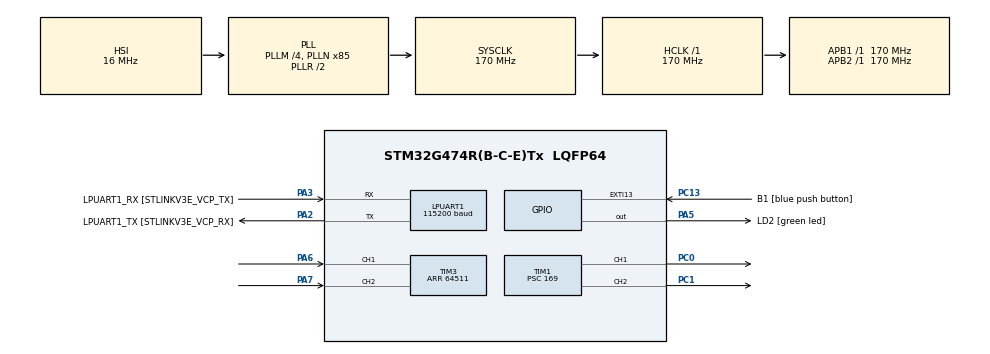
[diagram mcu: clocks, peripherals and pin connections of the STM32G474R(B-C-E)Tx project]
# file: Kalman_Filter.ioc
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ARM.CMSIS-DSP.1.15.0.CMSISJjDSP=Source
ARM.CMSIS.6.0.0.CMSISJjCORE=true
LPUART1.BaudRate=115200
LPUART1.WordLength=UART_WORDLENGTH_8B
Mcu.Family=STM32G4
Mcu.Name=STM32G474R(B-C-E)Tx
Mcu.Package=LQFP64
NVIC.EXTI15_10_IRQn=true\:0\:0\:false\:false\:true\:true\:true\:true
NVIC.PriorityGroup=NVIC_PRIORITYGROUP_4
NVIC.TIM5_IRQn=true\:0\:0\:false\:false\:true\:true\:true\:true
PA13.GPIO_Label=T_SWDIO
PA13.Mode=Serial_Wire
PA13.Signal=SYS_JTMS-SWDIO
PA14.GPIO_Label=T_SWCLK
PA14.Mode=Serial_Wire
PA14.Signal=SYS_JTCK-SWCLK
PA2.GPIO_Label=LPUART1_TX [STLINKV3E_VCP_RX]
PA2.Mode=Asynchronous
PA2.Signal=LPUART1_TX
PA3.GPIO_Label=LPUART1_RX [STLINKV3E_VCP_TX]
PA3.Mode=Asynchronous
PA3.Signal=LPUART1_RX
PA5.GPIO_Label=LD2 [green led]
PA5.Signal=GPIO_Output
PA6.Signal=S_TIM3_CH1
PA7.Signal=S_TIM3_CH2
PB3.GPIO_Label=T_SWO
PB3.Signal=SYS_JTDO-SWO
PC0.Signal=S_TIM1_CH1
PC1.Signal=S_TIM1_CH2
PC13.GPIO_Label=B1 [blue push button]
PC13.Signal=GPXTI13
PC14-OSC32_IN.Mode=LSE-External-Oscillator
PC14-OSC32_IN.Signal=RCC_OSC32_IN
PC15-OSC32_OUT.Mode=LSE-External-Oscillator
PC15-OSC32_OUT.Signal=RCC_OSC32_OUT
PF0-OSC_IN.Mode=HSE-External-Oscillator
PF0-OSC_IN.Signal=RCC_OSC_IN
PF1-OSC_OUT.Mode=HSE-External-Oscillator
PF1-OSC_OUT.Signal=RCC_OSC_OUT
ProjectManager.HeapSize=0x200
ProjectManager.StackSize=0x400
ProjectManager.TargetToolchain=STM32CubeIDE
RCC.ADC12Freq_Value=170000000
RCC.ADC345Freq_Value=170000000
RCC.AHBFreq_Value=170000000
RCC.APB1Freq_Value=170000000
RCC.APB1TimFreq_Value=170000000
RCC.APB2Freq_Value=170000000
RCC.APB2TimFreq_Value=170000000
RCC.CortexFreq_Value=170000000
RCC.EXTERNAL_CLOCK_VALUE=12288000
RCC.HCLKFreq_Value=170000000
RCC.HSE_VALUE=24000000
RCC.HSI48_VALUE=48000000
RCC.HSI_VALUE=16000000
RCC.PLLM=RCC_PLLM_DIV4
RCC.PLLN=85
RCC.RTCClockSelection=RCC_RTCCLKSOURCE_LSE
RCC.SYSCLKFreq_VALUE=170000000
RCC.SYSCLKSource=RCC_SYSCLKSOURCE_PLLCLK
RCC.USBFreq_Value=170000000
RCC.VCOOutputFreq_Value=340000000
SH.S_TIM1_CH1.0=TIM1_CH1,PWM Generation1 CH1
SH.S_TIM1_CH2.0=TIM1_CH2,PWM Generation2 CH2
SH.S_TIM3_CH1.0=TIM3_CH1,Encoder_Interface
SH.S_TIM3_CH2.0=TIM3_CH2,Encoder_Interface
TIM1.Channel-PWM\ Generation1\ CH1=TIM_CHANNEL_1
TIM1.Channel-PWM\ Generation2\ CH2=TIM_CHANNEL_2
TIM1.PeriodNoDither=1000
TIM1.Prescaler=169
TIM3.EncoderMode=TIM_ENCODERMODE_TI12
TIM3.PeriodNoDither=64511
TIM5.Prescaler=169
VP_ARM.CMSIS-DSP_VS_CMSISJjDSP_1.15.0_1.15.0.Mode=CMSISJjDSP
VP_ARM.CMSIS_VS_CMSISJjCORE_6.0.0_6.0.0.Mode=CMSISJjCORE
VP_SYS_VS_DBSignals.Mode=DisableDeadBatterySignals
VP_TIM1_VS_ClockSourceINT.Mode=Internal
VP_TIM5_VS_ClockSourceINT.Mode=Internal
board=NUCLEO-G474RE

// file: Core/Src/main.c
/* USER CODE BEGIN Header */
/**
  ******************************************************************************
  * @file           : main.c
  * @brief          : Main program body
  ******************************************************************************
  * @attention
  *
  * Copyright (c) 2024 STMicroelectronics.
  * All rights reserved.
  *
  * This software is licensed under terms that can be found in the LICENSE file
  * in the root directory of this software component.
  * If no LICENSE file comes with this software, it is provided AS-IS.
  *
  ******************************************************************************
  */
/* USER CODE END Header */
#include "main.h"

/* USER CODE BEGIN Includes */
#include "arm_math.h"

/* USER CODE END Includes */

UART_HandleTypeDef hlpuart1;

TIM_HandleTypeDef htim1;
TIM_HandleTypeDef htim3;
TIM_HandleTypeDef htim5;

/* USER CODE BEGIN PV */
float diffTime;
int32_t diffPosition;
int start = 0;
uint32_t QEIReadRaw;
int PWM;
float Voltage;
float Velo_Kalman;

typedef struct
{
// for record New / Old value to calculate dx / dt
	int Position[2];
	int TimeStamp[2];
	int QEIPostion_1turn;
	float QEIAngularVelocity;
	float QEIAngularVeloKalman;
}QEI_StructureTypeDef;
QEI_StructureTypeDef QEIdata = {0};
uint64_t _micros = 0;
enum
{
NEW,OLD
};

// กำหนดตัวแปร Kalman
float32_t X_k[3] = {0.0f, 0.0f, 0.0f};
arm_matrix_instance_f32 X_k_matrix;

float32_t P_k[9] = {0.0f, 0.0f, 0.0f,
                 	0.0f, 0.0f, 0.0f,
					0.0f, 0.0f, 0.0f };
arm_matrix_instance_f32 P_k_matrix;

float32_t A[9] = {1.0f, 0.01f, 0.5*0.01*0.01f,
				  0.0f, 1.0f, 0.01f,
				  0.0f, 0.0f, 1.0f };
arm_matrix_instance_f32 A_matrix;

float32_t A_transpose[9] = {1.0f, 0.0f, 0.0f,
		  	  	  	  	  	0.01f, 1.0f, 0.0f,
							0.5*0.01*0.01f, 0.01f, 1.0f };
arm_matrix_instance_f32 A_transpose_matrix;

float32_t I[9] = {1.0f, 0.0f, 0.0f,
		  	  	 0.0f, 1.0f, 0.0f,
				 0.0f, 0.0f, 1.0f };
arm_matrix_instance_f32 I_matrix;

float32_t B[3] = {0.0f,
			      0.0f,
				  1.0f };
arm_matrix_instance_f32 B_matrix;

float32_t C[3] = {1.0f, 0.0f, 0.0f };
arm_matrix_instance_f32 C_matrix;

float32_t C_transpose[3] = {1.0f,
	  	  	  	  	  	    0.0f,
	  	  	  	  	  	    0.0f};
arm_matrix_instance_f32 C_transpose_matrix;

float32_t G[3] = {0.5*0.01*0.01f,
				  0.01f,
				  1.0f };
arm_matrix_instance_f32 G_matrix;

float32_t G_transpose[3] = {0.5*0.01*0.01f, 0.01f, 1.0f };
arm_matrix_instance_f32 G_transpose_matrix;

float32_t Es_velocity[1] = {0.0f};
arm_matrix_instance_f32 Output_matrix;

arm_matrix_instance_f32 GGT_matrix;
float32_t GGT[9];

arm_matrix_instance_f32 GQGT_matrix;
float32_t GQGT[9];
//------------------------------------------- for equa ------------------------------------
// Compute Xk = Ax + Bu
arm_matrix_instance_f32 Bu_matrix;
float32_t Bu_data[3];
arm_matrix_instance_f32 Ax_matrix;
float32_t Ax_data[3];

// Compute (C * P_k * C^T + R)
arm_matrix_instance_f32 CP_matrix;
float32_t CP[3];
arm_matrix_instance_f32 CPCT_matrix;
float32_t CPCT[1];
arm_matrix_instance_f32 CPCTR_matrix;
float32_t CPCTR[1];

// Compute Kalman Gain: K = P_k * C^T * inv(C * P_k * C^T + R)
arm_matrix_instance_f32 K_matrix;
float32_t K[3];
arm_matrix_instance_f32 PCT_matrix;
float32_t PCT[3];

// Compute inverse of (C * P_k * C^T + R)
arm_matrix_instance_f32 CPCTRinv_matrix;
float32_t CPCTRinv[1];

// Computation of the estimated state
arm_matrix_instance_f32 Cx_matrix;
float32_t Cx[1];
arm_matrix_instance_f32 yCx_matrix;
float32_t yCx[1];
arm_matrix_instance_f32 KyCx_matrix;
float32_t KyCx[3];

float32_t Q = 1.0f;
arm_matrix_instance_f32 R_matrix;
float32_t R[1] = {1.0f};

//arm_matrix_instance_f32 Z_matrix;
//float32_t Z[1];

arm_matrix_instance_f32 Velocity_matrix;

float Kalman_Speed;
/* USER CODE END PV */

void SystemClock_Config(void);
static void MX_GPIO_Init(void);
static void MX_LPUART1_UART_Init(void);
static void MX_TIM3_Init(void);
static void MX_TIM5_Init(void);
static void MX_TIM1_Init(void);
/* USER CODE BEGIN PFP */
uint64_t micros();
void QEIEncoderPosVel_Update();
void Kalman_Start();
float SteadyStateKalmanFilter(float32_t Vin,float32_t Velocity);
/* USER CODE END PFP */

int main(void)
{

  /* MCU Configuration--------------------------------------------------------*/

  /* Reset of all peripherals, Initializes the Flash interface and the Systick. */
  HAL_Init();

  /* Configure the system clock */
  SystemClock_Config();

  /* Initialize all configured peripherals */
  MX_GPIO_Init();
  MX_LPUART1_UART_Init();
  MX_TIM3_Init();
  MX_TIM5_Init();
  MX_TIM1_Init();
  /* USER CODE BEGIN 2 */
  HAL_TIM_Encoder_Start(&htim3,TIM_CHANNEL_ALL);
  HAL_TIM_Base_Start_IT(&htim5);
  HAL_TIM_PWM_Start(&htim1, TIM_CHANNEL_1);
  HAL_TIM_PWM_Start(&htim1, TIM_CHANNEL_2);
  Kalman_Start();
  /* USER CODE END 2 */

  /* Infinite loop */
  while (1)
  {

    /* USER CODE BEGIN 3 */
	  Voltage = 5.0*PWM/1000.0;

	  if (start == 1)
	  {
		  __HAL_TIM_SET_COMPARE(&htim1, TIM_CHANNEL_1, PWM);
		  __HAL_TIM_SET_COMPARE(&htim1, TIM_CHANNEL_2, 0);
	  }
	  else if (start == 0)
	  {
		  __HAL_TIM_SET_COMPARE(&htim1, TIM_CHANNEL_1, 0);
		  __HAL_TIM_SET_COMPARE(&htim1, TIM_CHANNEL_2, 0);
	  }

	  QEIReadRaw = __HAL_TIM_GET_COUNTER(&htim3);
	  //Call every 0.1 s
	  static uint64_t timestamp =0;
	  int64_t currentTime = micros();
	  if(currentTime > timestamp)
	  {
		  timestamp =currentTime + 100000;//us
		  QEIEncoderPosVel_Update();
	  }

  }
  /* USER CODE END 3 */
}

void SystemClock_Config(void)
{
  RCC_OscInitTypeDef RCC_OscInitStruct = {0};
  RCC_ClkInitTypeDef RCC_ClkInitStruct = {0};

  /** Configure the main internal regulator output voltage
  */
  HAL_PWREx_ControlVoltageScaling(PWR_REGULATOR_VOLTAGE_SCALE1_BOOST);

  /** Initializes the RCC Oscillators according to the specified parameters
  * in the RCC_OscInitTypeDef structure.
  */
  RCC_OscInitStruct.OscillatorType = RCC_OSCILLATORTYPE_HSI;
  RCC_OscInitStruct.HSIState = RCC_HSI_ON;
  RCC_OscInitStruct.HSICalibrationValue = RCC_HSICALIBRATION_DEFAULT;
  RCC_OscInitStruct.PLL.PLLState = RCC_PLL_ON;
  RCC_OscInitStruct.PLL.PLLSource = RCC_PLLSOURCE_HSI;
  RCC_OscInitStruct.PLL.PLLM = RCC_PLLM_DIV4;
  RCC_OscInitStruct.PLL.PLLN = 85;
  RCC_OscInitStruct.PLL.PLLP = RCC_PLLP_DIV2;
  RCC_OscInitStruct.PLL.PLLQ = RCC_PLLQ_DIV2;
  RCC_OscInitStruct.PLL.PLLR = RCC_PLLR_DIV2;
  if (HAL_RCC_OscConfig(&RCC_OscInitStruct) != HAL_OK)
  {
    Error_Handler();
  }

  /** Initializes the CPU, AHB and APB buses clocks
  */
  RCC_ClkInitStruct.ClockType = RCC_CLOCKTYPE_HCLK|RCC_CLOCKTYPE_SYSCLK
                              |RCC_CLOCKTYPE_PCLK1|RCC_CLOCKTYPE_PCLK2;
  RCC_ClkInitStruct.SYSCLKSource = RCC_SYSCLKSOURCE_PLLCLK;
  RCC_ClkInitStruct.AHBCLKDivider = RCC_SYSCLK_DIV1;
  RCC_ClkInitStruct.APB1CLKDivider = RCC_HCLK_DIV1;
  RCC_ClkInitStruct.APB2CLKDivider = RCC_HCLK_DIV1;

  if (HAL_RCC_ClockConfig(&RCC_ClkInitStruct, FLASH_LATENCY_4) != HAL_OK)
  {
    Error_Handler();
  }
}

static void MX_LPUART1_UART_Init(void)
{

  hlpuart1.Instance = LPUART1;
  hlpuart1.Init.BaudRate = 115200;
  hlpuart1.Init.WordLength = UART_WORDLENGTH_8B;
  hlpuart1.Init.StopBits = UART_STOPBITS_1;
  hlpuart1.Init.Parity = UART_PARITY_NONE;
  hlpuart1.Init.Mode = UART_MODE_TX_RX;
  hlpuart1.Init.HwFlowCtl = UART_HWCONTROL_NONE;
  hlpuart1.Init.OneBitSampling = UART_ONE_BIT_SAMPLE_DISABLE;
  hlpuart1.Init.ClockPrescaler = UART_PRESCALER_DIV1;
  hlpuart1.AdvancedInit.AdvFeatureInit = UART_ADVFEATURE_NO_INIT;
  if (HAL_UART_Init(&hlpuart1) != HAL_OK)
  {
    Error_Handler();
  }
  if (HAL_UARTEx_SetTxFifoThreshold(&hlpuart1, UART_TXFIFO_THRESHOLD_1_8) != HAL_OK)
  {
    Error_Handler();
  }
  if (HAL_UARTEx_SetRxFifoThreshold(&hlpuart1, UART_RXFIFO_THRESHOLD_1_8) != HAL_OK)
  {
    Error_Handler();
  }
  if (HAL_UARTEx_DisableFifoMode(&hlpuart1) != HAL_OK)
  {
    Error_Handler();
  }

}

static void MX_TIM1_Init(void)
{

  TIM_ClockConfigTypeDef sClockSourceConfig = {0};
  TIM_MasterConfigTypeDef sMasterConfig = {0};
  TIM_OC_InitTypeDef sConfigOC = {0};
  TIM_BreakDeadTimeConfigTypeDef sBreakDeadTimeConfig = {0};

  htim1.Instance = TIM1;
  htim1.Init.Prescaler = 169;
  htim1.Init.CounterMode = TIM_COUNTERMODE_UP;
  htim1.Init.Period = 1000;
  htim1.Init.ClockDivision = TIM_CLOCKDIVISION_DIV1;
  htim1.Init.RepetitionCounter = 0;
  htim1.Init.AutoReloadPreload = TIM_AUTORELOAD_PRELOAD_DISABLE;
  if (HAL_TIM_Base_Init(&htim1) != HAL_OK)
  {
    Error_Handler();
  }
  sClockSourceConfig.ClockSource = TIM_CLOCKSOURCE_INTERNAL;
  if (HAL_TIM_ConfigClockSource(&htim1, &sClockSourceConfig) != HAL_OK)
  {
    Error_Handler();
  }
  if (HAL_TIM_PWM_Init(&htim1) != HAL_OK)
  {
    Error_Handler();
  }
  sMasterConfig.MasterOutputTrigger = TIM_TRGO_RESET;
  sMasterConfig.MasterOutputTrigger2 = TIM_TRGO2_RESET;
  sMasterConfig.MasterSlaveMode = TIM_MASTERSLAVEMODE_DISABLE;
  if (HAL_TIMEx_MasterConfigSynchronization(&htim1, &sMasterConfig) != HAL_OK)
  {
    Error_Handler();
  }
  sConfigOC.OCMode = TIM_OCMODE_PWM1;
  sConfigOC.Pulse = 0;
  sConfigOC.OCPolarity = TIM_OCPOLARITY_HIGH;
  sConfigOC.OCNPolarity = TIM_OCNPOLARITY_HIGH;
  sConfigOC.OCFastMode = TIM_OCFAST_DISABLE;
  sConfigOC.OCIdleState = TIM_OCIDLESTATE_RESET;
  sConfigOC.OCNIdleState = TIM_OCNIDLESTATE_RESET;
  if (HAL_TIM_PWM_ConfigChannel(&htim1, &sConfigOC, TIM_CHANNEL_1) != HAL_OK)
  {
    Error_Handler();
  }
  if (HAL_TIM_PWM_ConfigChannel(&htim1, &sConfigOC, TIM_CHANNEL_2) != HAL_OK)
  {
    Error_Handler();
  }
  sBreakDeadTimeConfig.OffStateRunMode = TIM_OSSR_DISABLE;
  sBreakDeadTimeConfig.OffStateIDLEMode = TIM_OSSI_DISABLE;
  sBreakDeadTimeConfig.LockLevel = TIM_LOCKLEVEL_OFF;
  sBreakDeadTimeConfig.DeadTime = 0;
  sBreakDeadTimeConfig.BreakState = TIM_BREAK_DISABLE;
  sBreakDeadTimeConfig.BreakPolarity = TIM_BREAKPOLARITY_HIGH;
  sBreakDeadTimeConfig.BreakFilter = 0;
  sBreakDeadTimeConfig.BreakAFMode = TIM_BREAK_AFMODE_INPUT;
  sBreakDeadTimeConfig.Break2State = TIM_BREAK2_DISABLE;
  sBreakDeadTimeConfig.Break2Polarity = TIM_BREAK2POLARITY_HIGH;
  sBreakDeadTimeConfig.Break2Filter = 0;
  sBreakDeadTimeConfig.Break2AFMode = TIM_BREAK_AFMODE_INPUT;
  sBreakDeadTimeConfig.AutomaticOutput = TIM_AUTOMATICOUTPUT_DISABLE;
  if (HAL_TIMEx_ConfigBreakDeadTime(&htim1, &sBreakDeadTimeConfig) != HAL_OK)
  {
    Error_Handler();
  }
  HAL_TIM_MspPostInit(&htim1);

}

static void MX_TIM3_Init(void)
{

  TIM_Encoder_InitTypeDef sConfig = {0};
  TIM_MasterConfigTypeDef sMasterConfig = {0};

  htim3.Instance = TIM3;
  htim3.Init.Prescaler = 0;
  htim3.Init.CounterMode = TIM_COUNTERMODE_UP;
  htim3.Init.Period = 64511;
  htim3.Init.ClockDivision = TIM_CLOCKDIVISION_DIV1;
  htim3.Init.AutoReloadPreload = TIM_AUTORELOAD_PRELOAD_DISABLE;
  sConfig.EncoderMode = TIM_ENCODERMODE_TI12;
  sConfig.IC1Polarity = TIM_ICPOLARITY_RISING;
  sConfig.IC1Selection = TIM_ICSELECTION_DIRECTTI;
  sConfig.IC1Prescaler = TIM_ICPSC_DIV1;
  sConfig.IC1Filter = 0;
  sConfig.IC2Polarity = TIM_ICPOLARITY_RISING;
  sConfig.IC2Selection = TIM_ICSELECTION_DIRECTTI;
  sConfig.IC2Prescaler = TIM_ICPSC_DIV1;
  sConfig.IC2Filter = 0;
  if (HAL_TIM_Encoder_Init(&htim3, &sConfig) != HAL_OK)
  {
    Error_Handler();
  }
  sMasterConfig.MasterOutputTrigger = TIM_TRGO_RESET;
  sMasterConfig.MasterSlaveMode = TIM_MASTERSLAVEMODE_DISABLE;
  if (HAL_TIMEx_MasterConfigSynchronization(&htim3, &sMasterConfig) != HAL_OK)
  {
    Error_Handler();
  }

}

static void MX_TIM5_Init(void)
{

  TIM_ClockConfigTypeDef sClockSourceConfig = {0};
  TIM_MasterConfigTypeDef sMasterConfig = {0};

  htim5.Instance = TIM5;
  htim5.Init.Prescaler = 169;
  htim5.Init.CounterMode = TIM_COUNTERMODE_UP;
  htim5.Init.Period = 4294967295;
  htim5.Init.ClockDivision = TIM_CLOCKDIVISION_DIV1;
  htim5.Init.AutoReloadPreload = TIM_AUTORELOAD_PRELOAD_DISABLE;
  if (HAL_TIM_Base_Init(&htim5) != HAL_OK)
  {
    Error_Handler();
  }
  sClockSourceConfig.ClockSource = TIM_CLOCKSOURCE_INTERNAL;
  if (HAL_TIM_ConfigClockSource(&htim5, &sClockSourceConfig) != HAL_OK)
  {
    Error_Handler();
  }
  sMasterConfig.MasterOutputTrigger = TIM_TRGO_RESET;
  sMasterConfig.MasterSlaveMode = TIM_MASTERSLAVEMODE_DISABLE;
  if (HAL_TIMEx_MasterConfigSynchronization(&htim5, &sMasterConfig) != HAL_OK)
  {
    Error_Handler();
  }

}

static void MX_GPIO_Init(void)
{
  GPIO_InitTypeDef GPIO_InitStruct = {0};

  /* GPIO Ports Clock Enable */
  __HAL_RCC_GPIOC_CLK_ENABLE();
  __HAL_RCC_GPIOF_CLK_ENABLE();
  __HAL_RCC_GPIOA_CLK_ENABLE();
  __HAL_RCC_GPIOB_CLK_ENABLE();

  /*Configure GPIO pin Output Level */
  HAL_GPIO_WritePin(LD2_GPIO_Port, LD2_Pin, GPIO_PIN_RESET);

  /*Configure GPIO pin : B1_Pin */
  GPIO_InitStruct.Pin = B1_Pin;
  GPIO_InitStruct.Mode = GPIO_MODE_IT_RISING;
  GPIO_InitStruct.Pull = GPIO_NOPULL;
  HAL_GPIO_Init(B1_GPIO_Port, &GPIO_InitStruct);

  /*Configure GPIO pin : LD2_Pin */
  GPIO_InitStruct.Pin = LD2_Pin;
  GPIO_InitStruct.Mode = GPIO_MODE_OUTPUT_PP;
  GPIO_InitStruct.Pull = GPIO_NOPULL;
  GPIO_InitStruct.Speed = GPIO_SPEED_FREQ_LOW;
  HAL_GPIO_Init(LD2_GPIO_Port, &GPIO_InitStruct);

  /* EXTI interrupt init*/
  HAL_NVIC_SetPriority(EXTI15_10_IRQn, 0, 0);
  HAL_NVIC_EnableIRQ(EXTI15_10_IRQn);

}

/* USER CODE BEGIN 4 */

//signed long kalman_filter(signed long ADC_Value)
//{
//    float x_k1_k1,x_k_k1;
//    static float ADC_OLD_Value;
//    float Z_k;
//    static float P_k1_k1;
//
//    static float Q = 2;//Q: Regulation noise, Q increases, dynamic response becomes faster, and convergence stability becomes worse
//    static float R = 1; //R: Test noise, R increases, dynamic response becomes slower, convergence stability becomes better
//    static float Kg = 0;
//    static float P_k_k1 = 1;
//
//    float kalman_adc;
//    static float kalman_adc_old=0;
//    Z_k = ADC_Value;
//    x_k1_k1 = kalman_adc_old;
//
//    x_k_k1 = x_k1_k1;
//    P_k_k1 = P_k1_k1 + Q;
//
//    Kg = P_k_k1/(P_k_k1 + R);
//
//    kalman_adc = x_k_k1 + Kg * (Z_k - kalman_adc_old);
//    P_k1_k1 = (1 - Kg)*P_k_k1;
//    P_k_k1 = P_k1_k1;
//
//    ADC_OLD_Value = ADC_Value;
//    kalman_adc_old = kalman_adc;
//
//    return kalman_adc;
//}

//MicroSecondTimer Implement
void HAL_TIM_PeriodElapsedCallback(TIM_HandleTypeDef *htim)
{
if(htim == &htim5)
{
	_micros += UINT32_MAX;
}
}
uint64_t micros()
{
	return __HAL_TIM_GET_COUNTER(&htim5)+_micros;
}

void QEIEncoderPosVel_Update()
{
	//collect data
	QEIdata.TimeStamp[NEW] = micros();
	QEIdata.Position[NEW] = QEIReadRaw;
	//Postion 1 turn calculation
	QEIdata.QEIPostion_1turn = QEIdata.Position[NEW] % 3072;
	//calculate dx
	diffPosition = QEIdata.Position[NEW] - QEIdata.Position[OLD];
	//Handle Warp around
	if(diffPosition > 32256)
		diffPosition -=64512;
	if(diffPosition < -32256)
	diffPosition +=64512;
	//calculate dt
	diffTime = (QEIdata.TimeStamp[NEW]-QEIdata.TimeStamp[OLD]) * 0.000001; //0.000001
	//calculate anglar velocity
	QEIdata.QEIAngularVelocity = diffPosition / diffTime;
//	QEIdata.QEIAngularVeloKalman = kalman_filter(QEIdata.QEIAngularVelocity);
	Velo_Kalman = SteadyStateKalmanFilter(Voltage ,QEIdata.QEIAngularVelocity);
	//store value for next loop
	QEIdata.Position[OLD] = QEIdata.Position[NEW];
	QEIdata.TimeStamp[OLD]=QEIdata.TimeStamp[NEW];
	 // Collect data
//	    QEIdata.TimeStamp[NEW] = micros();
//	    QEIdata.Position[NEW] = QEIReadRaw;
//
//	    // Calculate position within one turn
//	    QEIdata.QEIPostion_1turn = QEIdata.Position[NEW] % 3072;
//
//	    // Calculate dx (difference in position)
//	    diffPosition = QEIdata.Position[NEW] - QEIdata.Position[OLD];
//
//	    // Handle wrap-around
//	    if (diffPosition > 32256)
//	        diffPosition -= 64512;
//	    else if (diffPosition < -32256)
//	        diffPosition += 64512;
//
//	    // Calculate dt (difference in time)
//	    diffTime = (float)(QEIdata.TimeStamp[NEW] - QEIdata.TimeStamp[OLD]) * 0.000001f; // Convert to seconds
//
//	    // Avoid division by zero
//	    if (diffTime > 0.0f)
//	    {
//	        // Calculate angular velocity
//	        QEIdata.QEIAngularVelocity = (float)diffPosition / diffTime;
//
//	        // Apply Kalman filter
////	        QEIdata.QEIAngularVeloKalman = kalman_filter(QEIdata.QEIAngularVelocity);
//	    }
//	    else
//	    {
//	        QEIdata.QEIAngularVelocity = 0.0f;
////	        QEIdata.QEIAngularVeloKalman = kalman_filter(0.0f);
//	    }
//
//	    // Store values for the next loop
//	    QEIdata.Position[OLD] = QEIdata.Position[NEW];
//	    QEIdata.TimeStamp[OLD] = QEIdata.TimeStamp[NEW];
}

volatile arm_status Calst;
float checkVal;
float SteadyStateKalmanFilter(float32_t Vin,float32_t Velocity){
	  arm_mat_init_f32(&Velocity_matrix, 1, 1,(float32_t*) &Velocity);
	  // Compute Xk = Ax + Bu
	  arm_mat_scale_f32(&B_matrix, Vin, &Bu_matrix); 		   				// Bu
	  arm_mat_mult_f32(&A_matrix, &X_k_matrix, &Ax_matrix);  		   		// Ax
	  arm_mat_add_f32(&Ax_matrix, &Bu_matrix, &X_k_matrix); 		   		// Xk = Ax + Bu

	  // Compute (A * P_pk * A^T + G * Q * G^T)
	  arm_mat_mult_f32(&A_matrix, &P_k_matrix, &P_k_matrix);  		   		// Pk = A * P_pk
	  arm_mat_mult_f32(&P_k_matrix, &A_transpose_matrix, &P_k_matrix); 		// Pk = A * P_pk * A^T
	  arm_mat_mult_f32(&G_matrix, &G_transpose_matrix, &GGT_matrix);        // G * G^T
	  arm_mat_scale_f32(&GGT_matrix, Q, &GQGT_matrix); 				   	   	// G * Q
	  arm_mat_add_f32(&P_k_matrix, &GQGT_matrix, &P_k_matrix); 	       		// A * P_pk * A^T + G * Q * G^T

	  // Compute (C * P_k * C^T + R)
	  arm_mat_mult_f32(&C_matrix, &P_k_matrix, &CP_matrix);			     // C * Pk
	  arm_mat_mult_f32(&CP_matrix, &C_transpose_matrix, &CPCT_matrix);   // C * Pk * C^T
	  arm_mat_add_f32(&CPCT_matrix, &R_matrix, &CPCTR_matrix);			 // C * P_k * C^T + R

	  // Compute inverse of (C * P_k * C^T + R)
	  arm_mat_inverse_f32(&CPCTR_matrix, &CPCTRinv_matrix);					 // inverse of (C * P_k * C^T + R)

	  // Compute Kalman Gain: K = P_k * C^T * inv(C * P_k * C^T + R)
	  arm_mat_mult_f32(&P_k_matrix, &C_transpose_matrix, &PCT_matrix); 		 // P_k * C^T
	  arm_mat_mult_f32(&PCT_matrix, &CPCTRinv_matrix, &K_matrix);  			 // P_k * C^T * inv(C * P_k * C^T + R)

	  // Computation of the estimated state
	  arm_mat_mult_f32(&C_matrix, &X_k_matrix, &Cx_matrix);				 // C * X_k
	  arm_mat_sub_f32(&Velocity_matrix,  &Cx_matrix, &yCx_matrix);			  // y - ( C * X_k )
	  arm_mat_mult_f32(&K_matrix, &yCx_matrix, &KyCx_matrix);		     // K( y - ( C * X_k ) )
	  arm_mat_add_f32(&X_k_matrix, &KyCx_matrix, &X_k_matrix);		 	 // X_k + K( y - ( C * X_k ) )

	  // Computation of the estimated output
	  arm_mat_mult_f32(&C_matrix, &X_k_matrix, &Output_matrix);

	  // Computation of the state covariance error
	  arm_matrix_instance_f32 temp_matrix4;
	  float32_t temp_data4[9];
	  arm_mat_init_f32(&temp_matrix4, 3, 3,(float32_t*) &temp_data4);

	  arm_mat_mult_f32(&K_matrix, &C_matrix, &temp_matrix4);				// K * C
	  arm_mat_sub_f32(&I_matrix, &temp_matrix4, &temp_matrix4);			// (I - (K * C))
	  arm_mat_mult_f32(&temp_matrix4, &P_k_matrix, &P_k_matrix);			// (I - (K * C)) * P_k
	  Kalman_Speed = X_k[1];
	  return  Kalman_Speed;
}
void Kalman_Start(){
	arm_mat_init_f32(&X_k_matrix, 3, 1,(float32_t*) &X_k);
	arm_mat_init_f32(&P_k_matrix, 3, 3,(float32_t*) &P_k);

	arm_mat_init_f32(&A_matrix, 3, 3,(float32_t*) &A);
	arm_mat_init_f32(&B_matrix, 3, 1,(float32_t*) &B);
	arm_mat_init_f32(&C_matrix, 1, 3,(float32_t*) &C);
	arm_mat_init_f32(&G_matrix, 3, 1,(float32_t*) &G);

	arm_mat_init_f32(&A_transpose_matrix, 3, 3,(float32_t*) &A_transpose);
	arm_mat_init_f32(&C_transpose_matrix, 3, 1,(float32_t*) &C_transpose);
	arm_mat_init_f32(&G_transpose_matrix, 1, 3,(float32_t*) &G_transpose);

	arm_mat_init_f32(&GGT_matrix, 3, 3,(float32_t*) &GGT);
	arm_mat_init_f32(&GQGT_matrix, 3, 3,(float32_t*) &GQGT);

	// Compute Xk = Ax + Bu
	arm_mat_init_f32(&Bu_matrix, 3, 1,(float32_t*) &Bu_data);
	arm_mat_init_f32(&Ax_matrix, 3, 1,(float32_t*) &Ax_data);

	// Compute (C * P_k * C^T + R)
	arm_mat_init_f32(&CP_matrix, 1, 3,(float32_t*) &CP);
	arm_mat_init_f32(&CPCT_matrix, 1, 1,(float32_t*) &CPCT);
	arm_mat_init_f32(&CPCTR_matrix, 1, 1,(float32_t*) &CPCTR);

	// Compute Kalman Gain: K = P_k * C^T * inv(C * P_k * C^T + R)
	arm_mat_init_f32(&K_matrix, 3, 1,(float32_t*) &K);
	arm_mat_init_f32(&PCT_matrix, 3, 1,(float32_t*) &PCT);

	// Compute inverse of (C * P_k * C^T + R)
	arm_mat_init_f32(&CPCTRinv_matrix, 1, 1,(float32_t*) &CPCTRinv);

	// Computation of the estimated state
	arm_mat_init_f32(&Cx_matrix, 1, 1,(float32_t*) &Cx);
	arm_mat_init_f32(&yCx_matrix, 1, 1,(float32_t*) &yCx);
	arm_mat_init_f32(&KyCx_matrix, 3, 1,(float32_t*) &KyCx);

	arm_mat_init_f32(&Output_matrix, 1, 1,(float32_t*) &Es_velocity);

	arm_mat_init_f32(&I_matrix, 3, 3,(float32_t*) &I);

	arm_mat_init_f32(&R_matrix, 1, 1,(float32_t*) &R);
//	arm_mat_init_f32(&Z_matrix, 1, 1,(float32_t*) &Z);
}

/* USER CODE END 4 */

void Error_Handler(void)
{
  __disable_irq();
  while (1)
  {
  }
}
